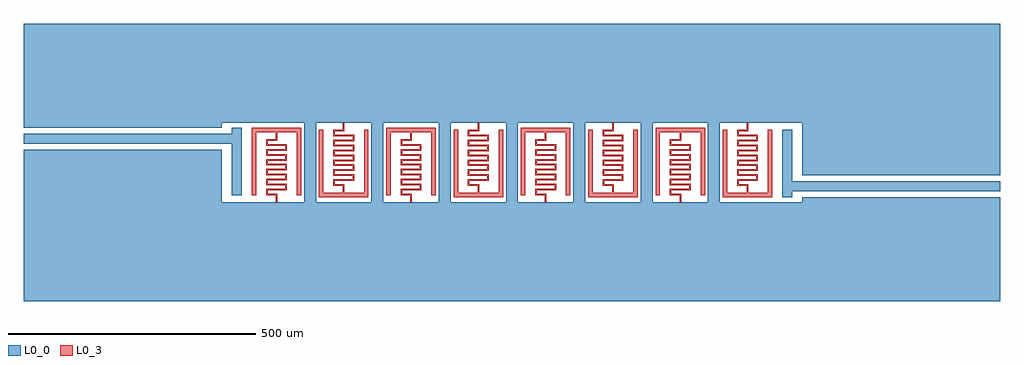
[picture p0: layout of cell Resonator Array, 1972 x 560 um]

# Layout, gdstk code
import gdstk
lib = gdstk.Library(unit=1e-6, precision=1e-09)
def P(c, l, *ps):  # polygons
    for p in ps: c.add(gdstk.Polygon(p, *l))
L0_0 = (0, 0)
L0_3 = (0, 3)

resonator_array = lib.new_cell('Resonator Array')
P(resonator_array, L0_0, [(1462,-140),(1062,-140),(1062,-150),(896,-150),(896,10),(1062,10),(1062,-96),(1462,-96),(1462,210),(-510,210),(-510,0),(-110,0),(-110,10),(56,10),(56,-150),(80,-150),(80,10),(192,10),(192,-150),(216,-150),(216,10),(328,10),(328,-150),(352,-150),(352,10),(464,10),(464,-150),(488,-150),(488,10),(600,10),(600,-150),(624,-150),(624,10),(736,10),(736,-150),(760,-150),(760,10),(872,10),(872,-150),(760,-150),(736,-150),(624,-150),(600,-150),(488,-150),(464,-150),(352,-150),(328,-150),(216,-150),(192,-150),(80,-150),(56,-150),(-110,-150),(-110,-44),(-510,-44),(-510,-350),(1462,-350)],
  [(-70,0),(-90,0),(-90,-12),(-510,-12),(-510,-32),(-90,-32),(-90,-136),(-70,-136)],
  [(1042,-128),(1462,-128),(1462,-108),(1042,-108),(1042,-4),(1022,-4),(1022,-140),(1042,-140)])
P(resonator_array, L0_3, [(-50,-136),(-41,-136),(-41,-9),(41,-9),(41,-136),(50,-136),(50,0),(-50,0)],
  [(1.5,-9),(-1.5,-9),(-1.5,-23),(-21,-23),(-21,-36),(0,-36),(18,-36),(18,-43),(0,-43),(-21,-43),(-21,-56),(0,-56),(18,-56),(18,-63),(0,-63),(-21,-63),(-21,-76),(0,-76),(18,-76),(18,-83),(0,-83),(-21,-83),(-21,-96),(0,-96),(18,-96),(18,-103),(0,-103),(-21,-103),(-21,-116),(0,-116),(18,-116),(18,-123),(0,-123),(-21,-123),(-21,-136),(-1.5,-136),(-1.5,-150),(1.5,-150),(1.5,-133),(-18,-133),(-18,-126),(0,-126),(21,-126),(21,-113),(0,-113),(-18,-113),(-18,-106),(0,-106),(21,-106),(21,-93),(0,-93),(-18,-93),(-18,-86),(0,-86),(21,-86),(21,-73),(0,-73),(-18,-73),(-18,-66),(0,-66),(21,-66),(21,-53),(0,-53),(-18,-53),(-18,-46),(0,-46),(21,-46),(21,-33),(0,-33),(-18,-33),(-18,-26),(1.5,-26)],
  [(95,-4),(86,-4),(86,-140),(186,-140),(186,-4),(177,-4),(177,-131),(95,-131)],
  [(134.5,-131),(137.5,-131),(137.5,-114),(118,-114),(118,-107),(136,-107),(157,-107),(157,-94),(136,-94),(118,-94),(118,-87),(136,-87),(157,-87),(157,-74),(136,-74),(118,-74),(118,-67),(136,-67),(157,-67),(157,-54),(136,-54),(118,-54),(118,-47),(136,-47),(157,-47),(157,-34),(136,-34),(118,-34),(118,-27),(136,-27),(157,-27),(157,-14),(136,-14),(118,-14),(118,-7),(137.5,-7),(137.5,10),(134.5,10),(134.5,-4),(115,-4),(115,-17),(136,-17),(154,-17),(154,-24),(136,-24),(115,-24),(115,-37),(136,-37),(154,-37),(154,-44),(136,-44),(115,-44),(115,-57),(136,-57),(154,-57),(154,-64),(136,-64),(115,-64),(115,-77),(136,-77),(154,-77),(154,-84),(136,-84),(115,-84),(115,-97),(136,-97),(154,-97),(154,-104),(136,-104),(115,-104),(115,-117),(134.5,-117)],
  [(222,-136),(231,-136),(231,-9),(313,-9),(313,-136),(322,-136),(322,0),(222,0)],
  [(273.5,-9),(270.5,-9),(270.5,-23),(251,-23),(251,-36),(272,-36),(290,-36),(290,-43),(272,-43),(251,-43),(251,-56),(272,-56),(290,-56),(290,-63),(272,-63),(251,-63),(251,-76),(272,-76),(290,-76),(290,-83),(272,-83),(251,-83),(251,-96),(272,-96),(290,-96),(290,-103),(272,-103),(251,-103),(251,-116),(272,-116),(290,-116),(290,-123),(272,-123),(251,-123),(251,-136),(270.5,-136),(270.5,-150),(273.5,-150),(273.5,-133),(254,-133),(254,-126),(272,-126),(293,-126),(293,-113),(272,-113),(254,-113),(254,-106),(272,-106),(293,-106),(293,-93),(272,-93),(254,-93),(254,-86),(272,-86),(293,-86),(293,-73),(272,-73),(254,-73),(254,-66),(272,-66),(293,-66),(293,-53),(272,-53),(254,-53),(254,-46),(272,-46),(293,-46),(293,-33),(272,-33),(254,-33),(254,-26),(273.5,-26)],
  [(367,-4),(358,-4),(358,-140),(458,-140),(458,-4),(449,-4),(449,-131),(367,-131)],
  [(406.5,-131),(409.5,-131),(409.5,-114),(390,-114),(390,-107),(408,-107),(429,-107),(429,-94),(408,-94),(390,-94),(390,-87),(408,-87),(429,-87),(429,-74),(408,-74),(390,-74),(390,-67),(408,-67),(429,-67),(429,-54),(408,-54),(390,-54),(390,-47),(408,-47),(429,-47),(429,-34),(408,-34),(390,-34),(390,-27),(408,-27),(429,-27),(429,-14),(408,-14),(390,-14),(390,-7),(409.5,-7),(409.5,10),(406.5,10),(406.5,-4),(387,-4),(387,-17),(408,-17),(426,-17),(426,-24),(408,-24),(387,-24),(387,-37),(408,-37),(426,-37),(426,-44),(408,-44),(387,-44),(387,-57),(408,-57),(426,-57),(426,-64),(408,-64),(387,-64),(387,-77),(408,-77),(426,-77),(426,-84),(408,-84),(387,-84),(387,-97),(408,-97),(426,-97),(426,-104),(408,-104),(387,-104),(387,-117),(406.5,-117)],
  [(494,-136),(503,-136),(503,-9),(585,-9),(585,-136),(594,-136),(594,0),(494,0)],
  [(545.5,-9),(542.5,-9),(542.5,-23),(523,-23),(523,-36),(544,-36),(562,-36),(562,-43),(544,-43),(523,-43),(523,-56),(544,-56),(562,-56),(562,-63),(544,-63),(523,-63),(523,-76),(544,-76),(562,-76),(562,-83),(544,-83),(523,-83),(523,-96),(544,-96),(562,-96),(562,-103),(544,-103),(523,-103),(523,-116),(544,-116),(562,-116),(562,-123),(544,-123),(523,-123),(523,-136),(542.5,-136),(542.5,-150),(545.5,-150),(545.5,-133),(526,-133),(526,-126),(544,-126),(565,-126),(565,-113),(544,-113),(526,-113),(526,-106),(544,-106),(565,-106),(565,-93),(544,-93),(526,-93),(526,-86),(544,-86),(565,-86),(565,-73),(544,-73),(526,-73),(526,-66),(544,-66),(565,-66),(565,-53),(544,-53),(526,-53),(526,-46),(544,-46),(565,-46),(565,-33),(544,-33),(526,-33),(526,-26),(545.5,-26)],
  [(639,-4),(630,-4),(630,-140),(730,-140),(730,-4),(721,-4),(721,-131),(639,-131)],
  [(678.5,-131),(681.5,-131),(681.5,-114),(662,-114),(662,-107),(680,-107),(701,-107),(701,-94),(680,-94),(662,-94),(662,-87),(680,-87),(701,-87),(701,-74),(680,-74),(662,-74),(662,-67),(680,-67),(701,-67),(701,-54),(680,-54),(662,-54),(662,-47),(680,-47),(701,-47),(701,-34),(680,-34),(662,-34),(662,-27),(680,-27),(701,-27),(701,-14),(680,-14),(662,-14),(662,-7),(681.5,-7),(681.5,10),(678.5,10),(678.5,-4),(659,-4),(659,-17),(680,-17),(698,-17),(698,-24),(680,-24),(659,-24),(659,-37),(680,-37),(698,-37),(698,-44),(680,-44),(659,-44),(659,-57),(680,-57),(698,-57),(698,-64),(680,-64),(659,-64),(659,-77),(680,-77),(698,-77),(698,-84),(680,-84),(659,-84),(659,-97),(680,-97),(698,-97),(698,-104),(680,-104),(659,-104),(659,-117),(678.5,-117)],
  [(766,-136),(775,-136),(775,-9),(857,-9),(857,-136),(866,-136),(866,0),(766,0)],
  [(817.5,-9),(814.5,-9),(814.5,-23),(795,-23),(795,-36),(816,-36),(834,-36),(834,-43),(816,-43),(795,-43),(795,-56),(816,-56),(834,-56),(834,-63),(816,-63),(795,-63),(795,-76),(816,-76),(834,-76),(834,-83),(816,-83),(795,-83),(795,-96),(816,-96),(834,-96),(834,-103),(816,-103),(795,-103),(795,-116),(816,-116),(834,-116),(834,-123),(816,-123),(795,-123),(795,-136),(814.5,-136),(814.5,-150),(817.5,-150),(817.5,-133),(798,-133),(798,-126),(816,-126),(837,-126),(837,-113),(816,-113),(798,-113),(798,-106),(816,-106),(837,-106),(837,-93),(816,-93),(798,-93),(798,-86),(816,-86),(837,-86),(837,-73),(816,-73),(798,-73),(798,-66),(816,-66),(837,-66),(837,-53),(816,-53),(798,-53),(798,-46),(816,-46),(837,-46),(837,-33),(816,-33),(798,-33),(798,-26),(817.5,-26)],
  [(911,-4),(902,-4),(902,-140),(1002,-140),(1002,-4),(993,-4),(993,-131),(911,-131)],
  [(950.5,-131),(953.5,-131),(953.5,-114),(934,-114),(934,-107),(952,-107),(973,-107),(973,-94),(952,-94),(934,-94),(934,-87),(952,-87),(973,-87),(973,-74),(952,-74),(934,-74),(934,-67),(952,-67),(973,-67),(973,-54),(952,-54),(934,-54),(934,-47),(952,-47),(973,-47),(973,-34),(952,-34),(934,-34),(934,-27),(952,-27),(973,-27),(973,-14),(952,-14),(934,-14),(934,-7),(953.5,-7),(953.5,10),(950.5,10),(950.5,-4),(931,-4),(931,-17),(952,-17),(970,-17),(970,-24),(952,-24),(931,-24),(931,-37),(952,-37),(970,-37),(970,-44),(952,-44),(931,-44),(931,-57),(952,-57),(970,-57),(970,-64),(952,-64),(931,-64),(931,-77),(952,-77),(970,-77),(970,-84),(952,-84),(931,-84),(931,-97),(952,-97),(970,-97),(970,-104),(952,-104),(931,-104),(931,-117),(950.5,-117)])

lib.write_gds('Resonator_Array.gds')
